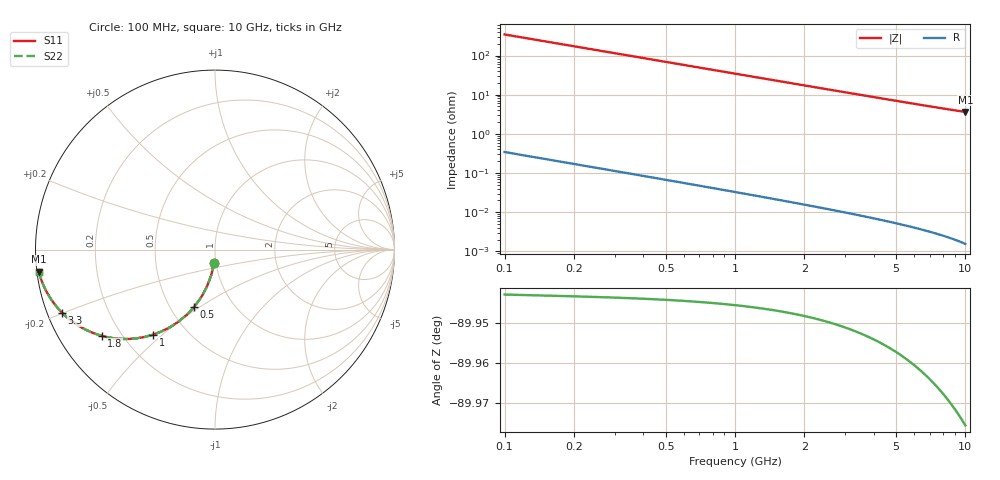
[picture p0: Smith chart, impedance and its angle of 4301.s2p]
# Hz S RI R 50.00
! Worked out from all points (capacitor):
!   100 points, 100 MHz to 10 GHz, reference 50 ohm
!   read as one part in shunt: C = 4.62 pF near 100 MHz
!   lowest |Z| = 3.62 ohm at 10 GHz (marker M1)
!   S11 on the Smith chart (normalised r, x): 100 MHz: 0.98, -0.14; 500 MHz: 0.66, -0.47; 1 GHz: 0.32, -0.47; 1.8 GHz: 0.13, -0.33; 3.3 GHz: 0.04, -0.20; 10 GHz: 0.01, -0.06
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1e8  -0.00522 -0.072  0.9946 -0.0722  0.9946 -0.0722  -0.00522 -0.072
2e8  -0.0207 -0.1418  0.9792 -0.1422  0.9792 -0.1422  -0.0207 -0.1418
3e8  -0.0453 -0.2074  0.9545 -0.208  0.9545 -0.208  -0.0453 -0.2074
4e8  -0.0778 -0.2671  0.922 -0.2679  0.922 -0.2679  -0.0778 -0.2671
5e8  -0.1164 -0.3198  0.8834 -0.3208  0.8834 -0.3208  -0.1164 -0.3198
6e8  -0.1594 -0.3651  0.8404 -0.3662  0.8404 -0.3662  -0.1594 -0.3651
7e8  -0.2051 -0.4027  0.7947 -0.404  0.7947 -0.404  -0.2051 -0.4027
8e8  -0.2521 -0.433  0.7478 -0.4345  0.7478 -0.4345  -0.2521 -0.433
1e9  -0.3449 -0.4739  0.655 -0.4758  0.655 -0.4758  -0.3449 -0.4739
1.3e9  -0.4707 -0.4974  0.5291 -0.4999  0.5291 -0.4999  -0.4707 -0.4974
1.5e9  -0.5421 -0.4963  0.4577 -0.4991  0.4577 -0.4991  -0.5421 -0.4963
1.8e9  -0.6303 -0.4805  0.3695 -0.4839  0.3695 -0.4839  -0.6303 -0.4805
2.1e9  -0.6988 -0.4562  0.301 -0.4602  0.301 -0.4602  -0.6988 -0.4562
2.5e9  -0.7668 -0.4199  0.233 -0.4247  0.233 -0.4247  -0.7668 -0.4199
2.9e9  -0.8157 -0.3843  0.1841 -0.3899  0.1841 -0.3899  -0.8157 -0.3843
3.3e9  -0.8515 -0.3518  0.1483 -0.3581  0.1483 -0.3581  -0.8515 -0.3518
3.4e9  -0.8589 -0.3442  0.1409 -0.3508  0.1409 -0.3508  -0.8589 -0.3442
4.2e9  -0.9029 -0.2914  0.0969 -0.2994  0.0969 -0.2994  -0.9029 -0.2914
5.1e9  -0.9321 -0.2458  0.0676 -0.2557  0.0676 -0.2557  -0.9321 -0.2458
6.7e9  -0.9597 -0.1893  0.04 -0.2023  0.04 -0.2023  -0.9597 -0.1893
8.4e9  -0.9741 -0.1495  0.0255 -0.1659  0.0255 -0.1659  -0.9741 -0.1495
1e10  -0.9817 -0.1228  0.0179 -0.1425  0.0179 -0.1425  -0.9817 -0.1228
